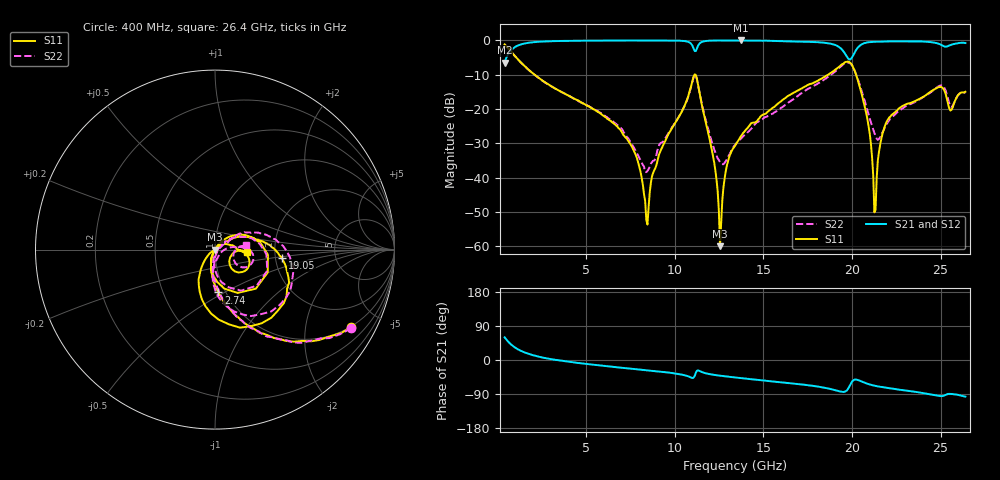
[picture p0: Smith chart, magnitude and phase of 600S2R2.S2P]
!  American Technical Ceramics  Date:  4/26/2005
!  One Norden Lane
!  Huntington Station,  NY.  11746-2102
!  Tel:  (631) 622-4700  Fax:  (631) 622-4748
!  Part Number  600S2R2  Mounting Orientation: Horizontal
!  Description: Ultra Low ESR Microwave capacitors
!  Application: Coupling, Bypass, Tuning, DC Block
!  Filters, Matching
# GHZ S DB R 50
! Freq  |S11|  S11 Ph  |S21|  S21 Ph  |S12|  S12 Ph  |S22|  S22 Ph
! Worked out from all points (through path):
!   401 points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, 400 MHz to 26.4 GHz, reference 50 ohm
!   highest |S21| = 0.00 dB at 13.72 GHz (marker M1); lowest = -6.4 dB at 400 MHz (marker M2)
!   group delay of S21, straight-line fit = 12.1 ps
!   lowest |S11| = -60.0 dB at 12.55 GHz (marker M3), VSWR 1.00, Z = 50 - j0.0918 ohm
!   |S11| at or under -10 dB: 2.092 GHz to 11.11 GHz (9.022 GHz wide, 137 % of centre); 11.17 GHz to 18.65 GHz (7.477 GHz wide, 50.1 % of centre); 20.23 GHz to end of sweep
!   |S22| runs from -38.4 to -1.1 dB; largest |S21 - S12| = 0.0079
!   S11 on the Smith chart (normalised r, x): 400 MHz: 0.97, -3.53; 2.74 GHz: 0.93, -0.47; 19.05 GHz: 2.18, -0.23; 26.4 GHz: 1.43, -0.04
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0.4  -1.17 -29.6  -6.43 59.8  -6.44 59.7  -1.15 -30.0
1.31  -6.36 -64.7  -1.17 24.4  -1.18 24.6  -6.40 -65.6
2.74  -12.42 -85.4  -0.28 4.6  -0.29 4.8  -12.48 -84.3
4.755  -18.18 -99.5  -0.07 -8.9  -0.07 -8.9  -18.15 -95.1
7.485  -30.10 -115.9  -0.01 -22.7  -0.01 -22.6  -29.53 -92.7
8.395  -52.25 -162.7  -0.02 -27.1  -0.02 -27.0  -38.41 -29.8
9.11  -33.28 59.5  -0.04 -30.5  -0.04 -30.4  -30.61 29.4
11.19  -10.04 -43.8  -3.09 -33.4  -3.08 -33.5  -10.24 -40.7
12.165  -33.90 -116.3  -0.03 -38.9  -0.04 -38.8  -30.72 -80.5
12.555  -59.99 -66.3  -0.01 -41.4  -0.01 -41.3  -35.52 -44.4
12.945  -36.37 53.3  -0.01 -43.6  -0.01 -43.5  -34.67 2.0
13.4  -30.74 45.5  -0.01 -46.0  -0.01 -45.9  -30.50 20.5
13.725  -28.00 44.5  0.00 -47.7  0.00 -47.5  -28.69 25.0
17.755  -12.54 13.2  -0.44 -68.0  -0.42 -67.8  -13.47 26.8
19.055  -8.49 -6.9  -1.32 -79.5  -1.32 -79.6  -9.06 7.1
20.225  -9.89 -99.5  -2.85 -51.6  -2.84 -51.6  -9.76 -77.9
20.875  -23.09 -136.0  -0.55 -62.8  -0.54 -62.7  -20.37 -93.8
21.265  -50.12 -142.7  -0.38 -67.8  -0.36 -67.6  -27.01 -68.1
22.11  -22.43 23.4  -0.28 -74.5  -0.27 -74.5  -23.18 5.8
24.905  -13.61 -24.1  -0.98 -94.8  -0.99 -94.8  -13.31 -9.1
25.555  -20.44 -27.0  -1.33 -89.5  -1.32 -89.4  -19.24 -21.7
26.4  -14.96 -4.3  -0.75 -96.7  -0.75 -96.5  -15.20 7.9
